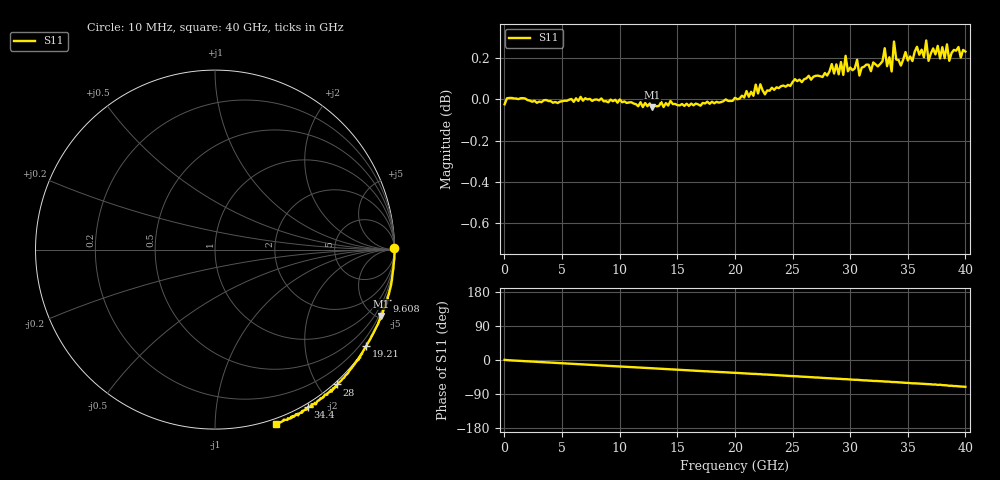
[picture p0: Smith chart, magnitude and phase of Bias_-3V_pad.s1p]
!Agilent Technologies,N5227A,US51270434,A.10.00.00
!Agilent N5227A: A.10.00.00
!Date: Wednesday, April 01, 2026 16:42:36
!Correction: S11(Full 1 Port(1))
!S1P File: Measurement: S11:
# Hz S  dB  R 50
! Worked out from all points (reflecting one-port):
!   201 points, 10 MHz to 40 GHz, reference 50 ohm
!   lowest |S11| = 0.0 dB at 12.81 GHz (marker M1), VSWR 448.59, Z = 3.12 - j260 ohm
!   phase of S11 starts at 0 deg and turns -71 deg over the sweep
!   S11 on the Smith chart (normalised r, x): 10 MHz: open; 9.608 GHz: 0.00, -6.91; 19.21 GHz: -0.00, -3.42; 28 GHz: -0.04, -2.25; 34.4 GHz: -0.04, -1.75; 40 GHz: -0.04, -1.41
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1e7  -0.02 0.4
5.00875e9  -0.01 -8.5
9.6076e9  -0.00 -16.5
1.00075e10  0.00 -17.2
1.28068e10  -0.04 -21.8
1.500625e10  -0.03 -25.6
1.92052e10  0.00 -32.6
2.0005e10  0.01 -34.0
2.180455e10  0.07 -36.6
2.500375e10  0.08 -42.5
2.8003e10  0.12 -47.9
3.00025e10  0.16 -51.3
3.300175e10  0.25 -56.9
3.36016e10  0.14 -58.0
3.380155e10  0.28 -58.2
3.44014e10  0.16 -59.4
3.500125e10  0.19 -60.4
3.540115e10  0.19 -61.6
3.660085e10  0.29 -63.3
3.68008e10  0.19 -63.8
3.72007e10  0.25 -64.9
3.740065e10  0.22 -64.6
3.76006e10  0.26 -65.8
3.780055e10  0.20 -65.3
3.84004e10  0.27 -67.0
3.860035e10  0.19 -68.1
3.88003e10  0.23 -67.9
4e10  0.23 -70.8
